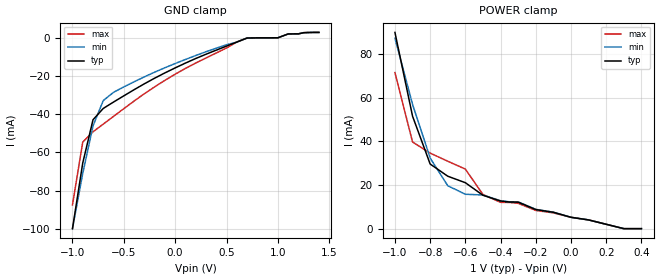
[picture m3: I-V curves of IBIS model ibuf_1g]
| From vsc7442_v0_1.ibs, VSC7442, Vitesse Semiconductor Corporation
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|   Model ibuf_1g
[Model]   ibuf_1g
Model_type   Input
Polarity   Non-Inverting
Vinl =   0.700V
Vinh =   0.800V
C_comp   0.502pF   0.420pF   0.620pF
[Temperature Range]   55.00   0.12k   -40.00
[Voltage Range]   1.00V   0.90V   1.05V
[GND_clamp]
| voltage   I(typ)   I(min)   I(max)
-1V       -100mA     -100mA     -87.5mA
-900mV    -65.54mA   -71.04mA   -54.57mA
-800mV    -42.86mA   -46.1mA    -49.18mA
-700mV    -36.92mA   -32.79mA   -45.14mA
-600mV    -33.57mA   -28.46mA   -41.09mA
-100mV    -18.29mA   -15.58mA   -22.2mA
300mV     -8.5mA     -7.19mA    -10.46mA
600mV     -2.12mA    -2.12mA    -2.06mA
700mV     0A         0A         0A
1V        130.5uA    130.5uA    130.5uA
1.1V      2.15mA     2.15mA     2.15mA
1.4V      2.96mA     2.96mA     2.96mA
[POWER_clamp]
| voltage   I(typ)   I(min)   I(max)
-1V       89.88mA    87.21mA    71.47mA
-900mV    51.52mA    56.93mA    39.68mA
-800mV    29.6mA     32.35mA    34.6mA
-700mV    24.02mA    19.66mA    30.88mA
-600mV    21.04mA    15.76mA    27.28mA
-500mV    15.29mA    15.41mA    15.63mA
-400mV    12.66mA    12.79mA    12.05mA
-300mV    12.13mA    12.27mA    11.6mA
-200mV    8.74mA     8.84mA     8.34mA
100mV     4mA        4mA        4mA
300mV     100nA      100nA      100nA
400mV     0A         0A         0A
